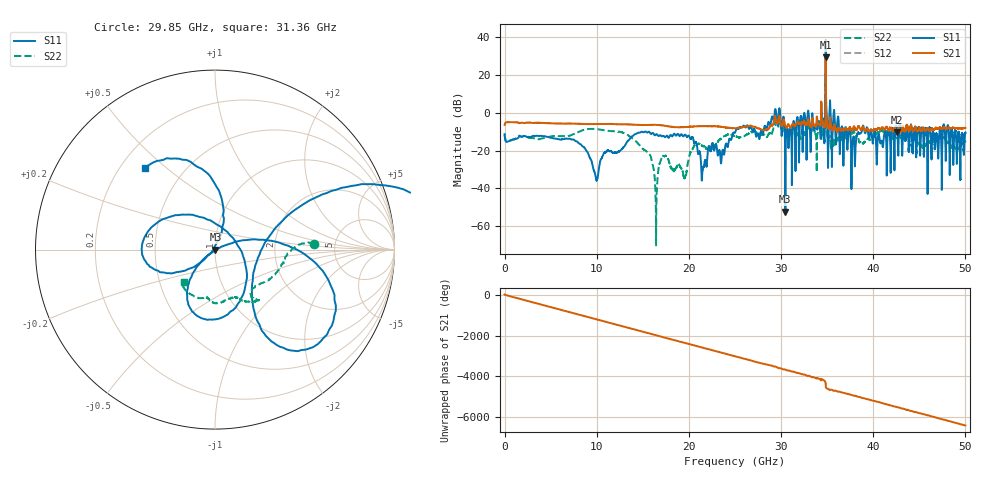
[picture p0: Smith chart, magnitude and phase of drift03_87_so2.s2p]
!Created with skrf (http://scikit-rf.org).
# Hz S RI R 50.0
!freq ReS11 ImS11 ReS21 ImS21 ReS12 ImS12 ReS22 ImS22
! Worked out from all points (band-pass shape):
!   10001 points, 300 kHz to 50 GHz, reference 50 ohm
!   highest |S21| = 29.11 dB at 34.85 GHz (marker M1); lowest = -10.3 dB at 42.55 GHz (marker M2)
!   |S21| within 3 dB of the highest: 34.84392 GHz to 34.84586 GHz (1.94 MHz wide, 0.00557 % of centre)
!   lowest |S11| = -52.3 dB at 30.47 GHz (marker M3), VSWR 1.00, Z = 50.2 - j0.12 ohm
!   |S11| at or under -10 dB: start of sweep to 15.23 GHz; 15.31 GHz to 25.05 GHz (9.739 GHz wide, 48.3 % of centre); 40.22 GHz to 41.61 GHz (1.385 GHz wide, 3.38 % of centre) (the widest 3 of 52)
!   |S22| runs from -70.4 to 20.0 dB; largest |S21 - S12| = 3.9
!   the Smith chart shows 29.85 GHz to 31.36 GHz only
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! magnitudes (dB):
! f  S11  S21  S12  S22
! 300 kHz  -11.4  -6.5  -6.5  -11.5
! 8.335 GHz  -17.1  -6.0  -6.0  -9.6
! 9.955 GHz  -35.5  -6.1  -6.1  -8.7
! 10.91 GHz  -21.0  -6.0  -6.0  -9.4
! 13.86 GHz  -12.5  -6.3  -6.3  -13.5
! 16.67 GHz  -12.3  -6.5  -6.5  -30.4
! 17.33 GHz  -12.7  -6.9  -6.9  -23.0
! 19.56 GHz  -11.6  -7.6  -7.6  -34.1
! 20.21 GHz  -13.9  -7.4  -7.5  -20.6
! 21.55 GHz  -28.6  -7.2  -7.2  -17.8
! 25 GHz  -10.6  -8.2  -8.2  -12.5
! 27.51 GHz  -11.0  -8.3  -8.3  -10.7
! 29.6 GHz  -5.5  -5.7  -5.9  -7.7
! 30.47 GHz  -52.3  -7.2  -7.2  -9.0
! 33.34 GHz  -3.8  -6.8  -6.7  -9.3
! 34.85 GHz  38.0  29.1  28.9  20.0
! 35.63 GHz  -5.9  -9.3  -9.2  -15.8
! 37.84 GHz  -12.8  -8.2  -8.2  -9.5
! 39.07 GHz  -10.3  -9.3  -9.4  -15.4
! 41.67 GHz  -9.0  -9.4  -9.3  -11.4
! 42.55 GHz  -8.5  -10.3  -10.3  -13.2
! 50 GHz  -10.7  -8.2  -8.2  -15.4
